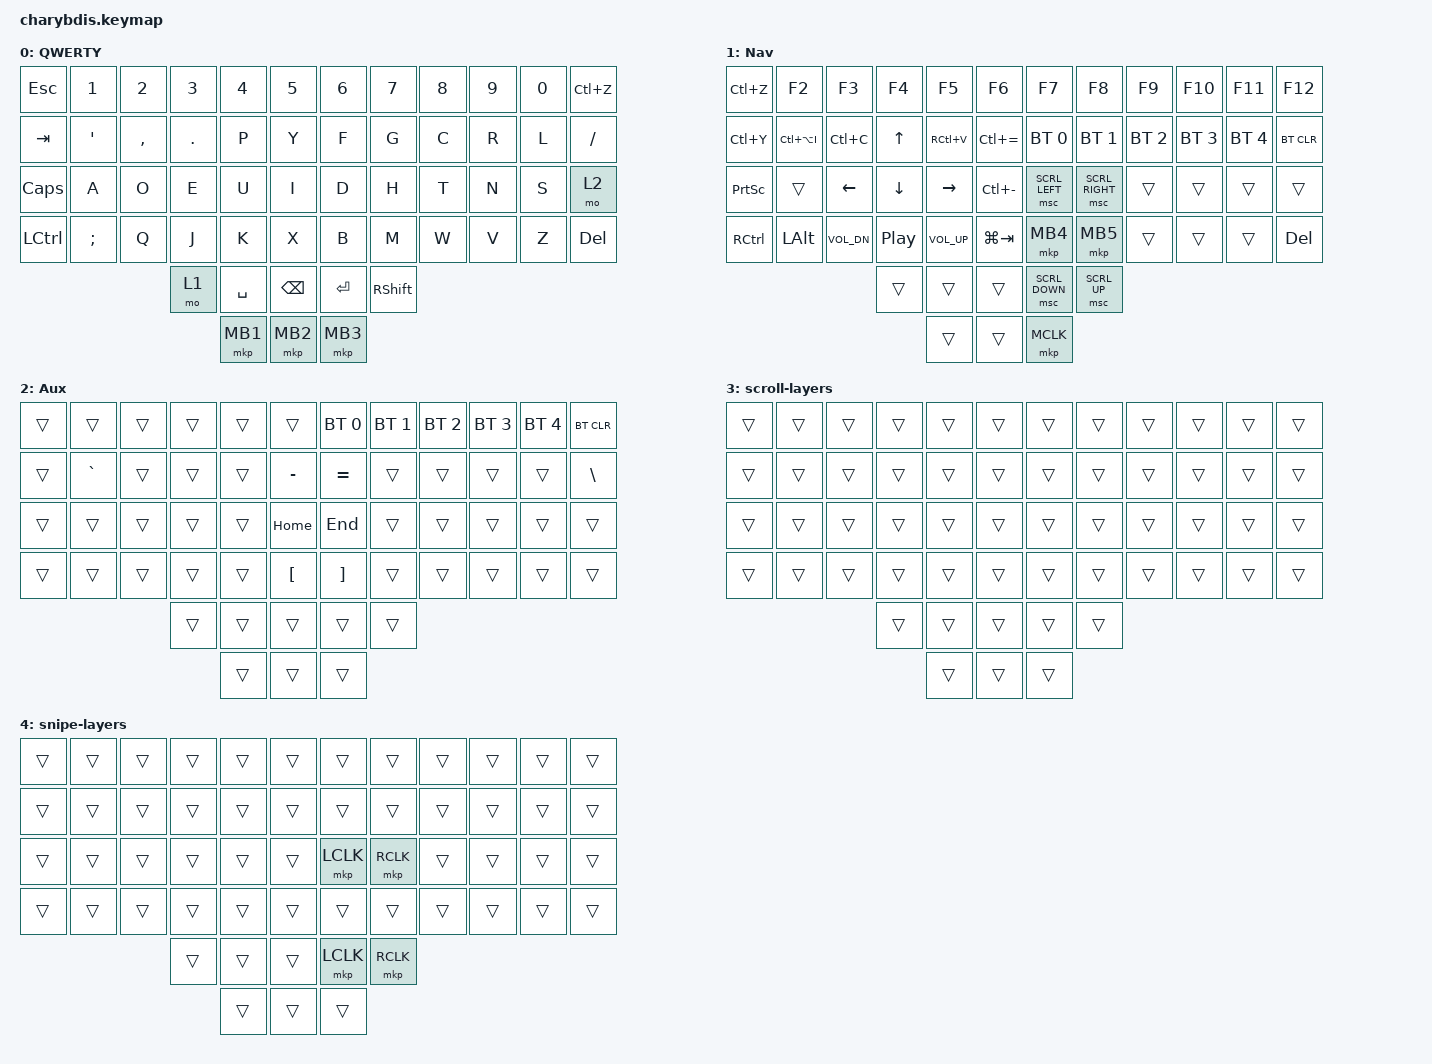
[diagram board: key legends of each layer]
#include <behaviors.dtsi>
#include <dt-bindings/zmk/bt.h>
#include <dt-bindings/zmk/keys.h>
#include <dt-bindings/zmk/pointing.h>
#include <dt-bindings/zmk/rgb.h>

&lt {
    tapping-term-ms = <200>;
    flavor = "balanced";
    quick-tap-ms = <150>;
};

/ {
    macros {
        To1_macro: To1_macro {
            compatible = "zmk,behavior-macro";
            label = "To1_macro";
            #binding-cells = <0>;
            bindings = <&rgb_ug RGB_EFF &rgb_ug RGB_COLOR_HSB(128,100,50) &to 1>;
        };

        To0_macro: To0_macro {
            compatible = "zmk,behavior-macro";
            label = "To0_macro";
            #binding-cells = <0>;
            bindings = <&rgb_ug RGB_EFR &to 0>;
        };

        To2_macro: To2_macro {
            compatible = "zmk,behavior-macro";
            label = "To2_macro";
            #binding-cells = <0>;
            bindings =
                <&to 2>,
                <&macro_wait_time 30>,
                <&rgb_ug RGB_COLOR_HSB(250,100,50)>;
        };
    };

    keymap {
        compatible = "zmk,keymap";

        QWERTY {
            bindings = <
&kp ESC       &kp N1    &kp N2     &kp N3   &kp N4     &kp N5           &kp N6     &kp N7     &kp N8  &kp N9  &kp N0  &kp LC(Z)
&kp TAB       &kp SQT   &kp COMMA  &kp DOT  &kp P      &kp Y            &kp F      &kp G      &kp C   &kp R   &kp L   &kp FSLH
&kp CAPSLOCK  &kp A     &kp O      &kp E    &kp U      &kp I            &kp D      &kp H      &kp T   &kp N   &kp S   &mo 2
&kp LCTRL     &kp SEMI  &kp Q      &kp J    &kp K      &kp X            &kp B      &kp M      &kp W   &kp V   &kp Z   &kp DELETE
                                   &mo 1    &kp SPACE  &kp BACKSPACE    &kp ENTER  &kp RSHFT
                                            &mkp MB1   &mkp MB2         &mkp MB3
            >;
        };

        Nav {
            bindings = <
&kp LC(Z)        &kp F2         &kp F3        &kp F4            &kp F5           &kp F6           &kp F7          &kp F8           &kp F9        &kp F10       &kp F11       &kp F12
&kp LC(Y)        &kp LC(LA(I))  &kp LC(C)     &kp UP            &kp RC(V)        &kp LC(EQUAL)    &bt BT_SEL 0    &bt BT_SEL 1     &bt BT_SEL 2  &bt BT_SEL 3  &bt BT_SEL 4  &bt BT_CLR
&kp PRINTSCREEN  &trans         &kp LEFT      &kp DOWN          &kp RIGHT        &kp LC(MINUS)    &msc SCRL_LEFT  &msc SCRL_RIGHT  &trans        &trans        &trans        &trans
&kp RCTRL        &kp LALT       &kp C_VOL_DN  &kp C_PLAY_PAUSE  &kp C_VOLUME_UP  &kp LG(TAB)      &mkp MB4        &mkp MB5         &trans        &trans        &trans        &kp DELETE
                                              &trans            &trans           &trans           &msc SCRL_DOWN  &msc SCRL_UP
                                                                &trans           &trans           &mkp MCLK
            >;
        };

        Aux {
            bindings = <
&trans  &trans     &trans  &trans  &trans  &trans       &bt BT_SEL 0  &bt BT_SEL 1  &bt BT_SEL 2  &bt BT_SEL 3  &bt BT_SEL 4  &bt BT_CLR
&trans  &kp GRAVE  &trans  &trans  &trans  &kp MINUS    &kp EQUAL     &trans        &trans        &trans        &trans        &kp BACKSLASH
&trans  &trans     &trans  &trans  &trans  &kp HOME     &kp END       &trans        &trans        &trans        &trans        &trans
&trans  &trans     &trans  &trans  &trans  &kp LBKT     &kp RBKT      &trans        &trans        &trans        &trans        &trans
                           &trans  &trans  &trans       &trans        &trans
                                   &trans  &trans       &trans
            >;
        };

        scroll-layers {
            bindings = <
&trans  &trans  &trans  &trans  &trans  &trans    &trans  &trans  &trans  &trans  &trans  &trans
&trans  &trans  &trans  &trans  &trans  &trans    &trans  &trans  &trans  &trans  &trans  &trans
&trans  &trans  &trans  &trans  &trans  &trans    &trans  &trans  &trans  &trans  &trans  &trans
&trans  &trans  &trans  &trans  &trans  &trans    &trans  &trans  &trans  &trans  &trans  &trans
                        &trans  &trans  &trans    &trans  &trans
                                &trans  &trans    &trans
            >;
        };

        snipe-layers {
            bindings = <
&trans  &trans  &trans  &trans  &trans  &trans    &trans     &trans     &trans  &trans  &trans  &trans
&trans  &trans  &trans  &trans  &trans  &trans    &trans     &trans     &trans  &trans  &trans  &trans
&trans  &trans  &trans  &trans  &trans  &trans    &mkp LCLK  &mkp RCLK  &trans  &trans  &trans  &trans
&trans  &trans  &trans  &trans  &trans  &trans    &trans     &trans     &trans  &trans  &trans  &trans
                        &trans  &trans  &trans    &mkp LCLK  &mkp RCLK
                                &trans  &trans    &trans
            >;
        };
    };
};
